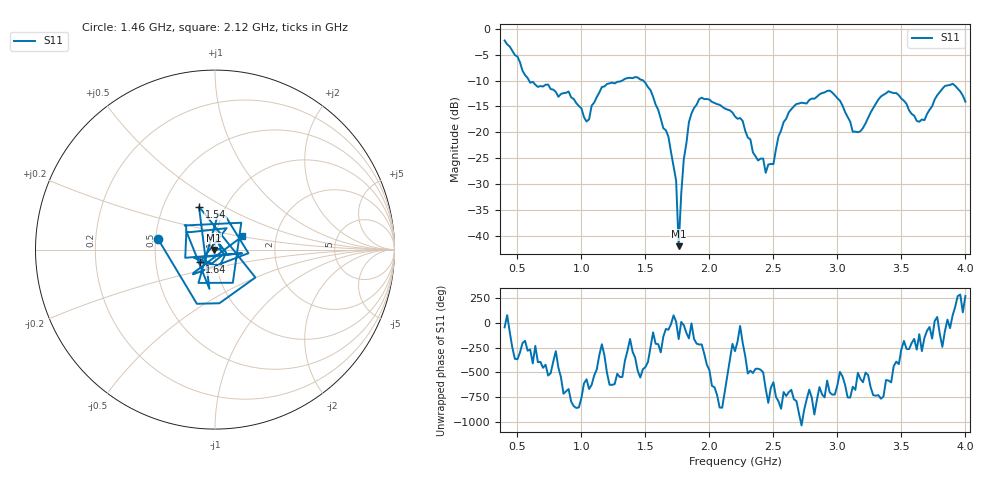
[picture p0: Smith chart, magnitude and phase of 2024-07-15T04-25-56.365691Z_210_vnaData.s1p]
!Created with skrf (http://scikit-rf.org).
# Hz S RI R 50.0
!freq ReS11 ImS11
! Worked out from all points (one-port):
!   181 points, 400 MHz to 4 GHz, reference 50 ohm
!   lowest |S11| = -41.9 dB at 1.76 GHz (marker M1), VSWR 1.02, Z = 49.2 - j0.206 ohm
!   |S11| at or under -10 dB: 590.6 MHz to 1.32 GHz (729.7 MHz wide, 76.4 % of centre); 1.482 GHz to end of sweep
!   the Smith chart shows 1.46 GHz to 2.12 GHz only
!   S11 on the Smith chart (normalised r, x): 1.46 GHz: 0.51, +0.07; 1.54 GHz: 0.75, +0.39; 1.64 GHz: 0.84, -0.12; 2.12 GHz: 1.34, +0.21
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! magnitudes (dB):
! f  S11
! 400 MHz  -2.3
! 600 MHz  -10.4
! 860 MHz  -12.4
! 1.04 GHz  -17.9
! 1.16 GHz  -11.2
! 1.3 GHz  -10.2
! 1.46 GHz  -9.8
! 1.54 GHz  -11.8
! 1.64 GHz  -19.2
! 1.68 GHz  -20.8
! 1.74 GHz  -29.3
! 1.76 GHz  -41.9
! 1.8 GHz  -25.1
! 1.86 GHz  -16.3
! 1.94 GHz  -13.3
! 2.12 GHz  -15.4
! 2.2 GHz  -16.9
! 2.26 GHz  -17.8
! 2.44 GHz  -27.8
! 2.66 GHz  -15.0
! 2.94 GHz  -11.9
! 3.1 GHz  -17.9
! 3.18 GHz  -19.8
! 3.4 GHz  -12.1
! 3.56 GHz  -15.7
! 3.68 GHz  -17.6
! 3.9 GHz  -10.6
! 4 GHz  -14.1
